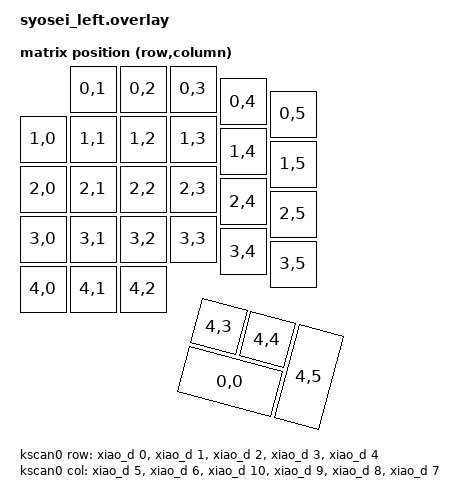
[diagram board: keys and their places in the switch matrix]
#include <dt-bindings/zmk/matrix_transform.h>
#include <zephyr/dt-bindings/gpio/gpio.h>
#include <physical_layouts.dtsi>

/ {
    chosen {
        zmk,kscan = &kscan0;
        zmk,physical-layout = &physical_layout0;
    };

    matrix_transform0: keymap_transform_0 {
        compatible = "zmk,matrix-transform";
        columns = <6>;
        rows = <5>;
        map = <
RC(0,0) RC(0,1) RC(0,2) RC(0,3) RC(0,4) RC(0,5)
RC(1,0) RC(1,1) RC(1,2) RC(1,3) RC(1,4) RC(1,5)
RC(2,0) RC(2,1) RC(2,2) RC(2,3) RC(2,4) RC(2,5)
RC(3,0) RC(3,1) RC(3,2) RC(3,3) RC(3,4) RC(3,5)
RC(4,0) RC(4,1) RC(4,2) RC(4,3) RC(4,4) RC(4,5)
        >;
    };

    kscan0: kscan {
        compatible = "zmk,kscan-gpio-matrix";
        wakeup-source;
        diode-direction = "col2row";
        row-gpios
            = <&xiao_d 0 GPIO_ACTIVE_HIGH>
            , <&xiao_d 1 GPIO_ACTIVE_HIGH>
            , <&xiao_d 2 GPIO_ACTIVE_HIGH>
            , <&xiao_d 3 GPIO_ACTIVE_HIGH>
            , <&xiao_d 4 GPIO_ACTIVE_HIGH>
            ;
        col-gpios
            = <&xiao_d 5 GPIO_ACTIVE_HIGH>
            , <&xiao_d 6 GPIO_ACTIVE_HIGH>
            , <&xiao_d 10 GPIO_ACTIVE_HIGH>
            , <&xiao_d 9 GPIO_ACTIVE_HIGH>
            , <&xiao_d 8 GPIO_ACTIVE_HIGH>
            , <&xiao_d 7 GPIO_ACTIVE_HIGH>
            ;
    };

    physical_layout0: physical_layout_0 {
        compatible = "zmk,physical-layout";
        display-name = "Syosei Left";
        kscan = <&kscan0>;
        transform = <&matrix_transform0>;
        keys  //                     w   h    x    y     rot    rx    ry
            = <&key_physical_attrs 200 100  500  450    1500     0 (-100)>
            , <&key_physical_attrs 100 100  100    0       0     0     0>
            , <&key_physical_attrs 100 100  200    0       0     0     0>
            , <&key_physical_attrs 100 100  300    0       0     0     0>
            , <&key_physical_attrs 100 100  400   25       0     0     0>
            , <&key_physical_attrs 100 100  500   50       0     0     0>
            , <&key_physical_attrs 100 100    0  100       0     0     0>
            , <&key_physical_attrs 100 100  100  100       0     0     0>
            , <&key_physical_attrs 100 100  200  100       0     0     0>
            , <&key_physical_attrs 100 100  300  100       0     0     0>
            , <&key_physical_attrs 100 100  400  125       0     0     0>
            , <&key_physical_attrs 100 100  500  150       0     0     0>
            , <&key_physical_attrs 100 100    0  200       0     0     0>
            , <&key_physical_attrs 100 100  100  200       0     0     0>
            , <&key_physical_attrs 100 100  200  200       0     0     0>
            , <&key_physical_attrs 100 100  300  200       0     0     0>
            , <&key_physical_attrs 100 100  400  225       0     0     0>
            , <&key_physical_attrs 100 100  500  250       0     0     0>
            , <&key_physical_attrs 100 100    0  300       0     0     0>
            , <&key_physical_attrs 100 100  100  300       0     0     0>
            , <&key_physical_attrs 100 100  200  300       0     0     0>
            , <&key_physical_attrs 100 100  300  300       0     0     0>
            , <&key_physical_attrs 100 100  400  325       0     0     0>
            , <&key_physical_attrs 100 100  500  350       0     0     0>
            , <&key_physical_attrs 100 100    0  400       0     0     0>
            , <&key_physical_attrs 100 100  100  400       0     0     0>
            , <&key_physical_attrs 100 100  200  400       0     0     0>
            , <&key_physical_attrs 100 100  500  350    1500     0 (-100)>
            , <&key_physical_attrs 100 100  600  350    1500     0 (-100)>
            , <&key_physical_attrs 100 200  700  350    1500     0 (-100)>
            ;
    };
};
